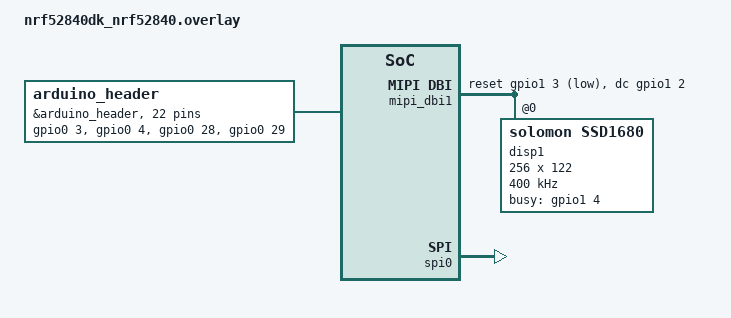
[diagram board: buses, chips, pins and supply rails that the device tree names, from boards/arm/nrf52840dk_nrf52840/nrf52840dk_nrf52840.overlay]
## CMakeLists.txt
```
cmake_minimum_required(VERSION 3.20.0)
find_package(Zephyr REQUIRED HINTS $ENV{ZEPHYR_BASE})

project(LVGL_Button_Counter)

target_sources(app PRIVATE src/main.c)
```

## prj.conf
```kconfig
CONFIG_LV_Z_SHELL=y
CONFIG_MAIN_STACK_SIZE=16384
CONFIG_DISPLAY=y
CONFIG_DISPLAY_LOG_LEVEL_ERR=y
CONFIG_DISPLAY_INIT_PRIORITY=80
CONFIG_LOG=y
CONFIG_SHELL=y
CONFIG_LVGL=y
CONFIG_LV_USE_LOG=y
CONFIG_LV_USE_LABEL=y
CONFIG_LV_COLOR_DEPTH_1=y
CONFIG_LV_DRAW_BUF_STRIDE_ALIGN=8
CONFIG_LV_Z_MEM_POOL_SIZE=65536
CONFIG_GPIO=y

CONFIG_LV_Z_VDB_SIZE=100

CONFIG_DISPLAY_LOG_LEVEL_DBG=y
CONFIG_LV_USE_QRCODE=y
CONFIG_LV_USE_CANVAS=y

CONFIG_DEBUG=y
CONFIG_PRINTK=y
CONFIG_THREAD_NAME=y
CONFIG_LOG=y
CONFIG_DEBUG_INFO=y
CONFIG_ASSERT=y

CONFIG_LV_FONT_DEJAVU_16_PERSIAN_HEBREW=y
CONFIG_LV_FONT_MONTSERRAT_8=y
CONFIG_LV_FONT_MONTSERRAT_10=y
CONFIG_LV_FONT_MONTSERRAT_12=y
CONFIG_LV_FONT_MONTSERRAT_14=y
CONFIG_LV_FONT_MONTSERRAT_16=y
CONFIG_LV_FONT_MONTSERRAT_18=y
CONFIG_LV_FONT_MONTSERRAT_20=y
CONFIG_LV_FONT_MONTSERRAT_22=y
CONFIG_LV_FONT_MONTSERRAT_24=y
CONFIG_LV_FONT_MONTSERRAT_26=y
CONFIG_LV_FONT_MONTSERRAT_28=y
CONFIG_LV_FONT_MONTSERRAT_30=y
CONFIG_LV_FONT_MONTSERRAT_32=y
CONFIG_LV_FONT_MONTSERRAT_34=y
CONFIG_LV_FONT_MONTSERRAT_36=y
CONFIG_LV_FONT_MONTSERRAT_38=y
CONFIG_LV_FONT_MONTSERRAT_40=y
CONFIG_LV_FONT_MONTSERRAT_42=y
CONFIG_LV_FONT_MONTSERRAT_44=y
CONFIG_LV_FONT_MONTSERRAT_46=y
CONFIG_LV_FONT_MONTSERRAT_48=y
```

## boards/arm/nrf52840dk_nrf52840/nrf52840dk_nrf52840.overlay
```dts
/{
    chosen {
        zephyr,display = &disp1;
    };

    mipi_dbi1 {
        compatible = "zephyr,mipi-dbi-spi";
        dc-gpios = <&gpio1 2 GPIO_ACTIVE_HIGH>;
        reset-gpios = <&gpio1 3 GPIO_ACTIVE_LOW>;
        spi-dev = <&spi0>;
        write-only;
        #address-cells = <1>;
        #size-cells = <0>;
        status = "okay";

        disp1: ssd1680@0 {
            compatible = "solomon,ssd1680";
            reg = <0>;
            busy-gpios = <&gpio1 4 (GPIO_PULL_DOWN | GPIO_ACTIVE_HIGH)>;
            width = <256>;
            height = <122>;
            rotation = <0>;
            mipi-max-frequency = <400000>;   
            
            // full {};
            partial {};

            status = "okay";
        };
    };
};


&spi0 {
    status = "okay";
    cs-gpios = <&gpio1 1 GPIO_ACTIVE_LOW>;
};

&gpio1 {
    status = "okay";
};

&arduino_i2c {
    status = "disabled";
};

&arduino_header {
    gpio-map = <0 0 &gpio0 3 0>,
               <1 0 &gpio0 4 0>,
               <2 0 &gpio0 28 0>,
               <3 0 &gpio0 29 0>,
               <4 0 &gpio0 30 0>,
               <5 0 &gpio0 31 0>,
               <6 0 &gpio1 1 0>,
               <7 0 &gpio1 2 0>,
               <8 0 &gpio1 3 0>,
               <9 0 &gpio1 4 0>,
               <10 0 &gpio1 5 0>,
               <11 0 &gpio1 6 0>,
               <12 0 &gpio1 7 0>,
               <13 0 &gpio1 8 0>,
               <14 0 &gpio1 10 0>,
               <15 0 &gpio1 11 0>,
               <16 0 &gpio1 12 0>,
               <17 0 &gpio1 13 0>,
               <18 0 &gpio1 14 0>,
               <19 0 &gpio1 15 0>,
               <20 0 &gpio0 26 0>,
               <21 0 &gpio0 27 0>;
};
```

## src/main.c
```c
#include <zephyr/device.h>
#include <zephyr/devicetree.h>
#include <zephyr/drivers/display.h>
#include <lvgl.h>
#include <zephyr/kernel.h>
#include <string.h>
#include <zephyr/drivers/gpio.h>
#include <zephyr/sys/printk.h>

#define LOG_LEVEL CONFIG_LOG_DEFAULT_LEVEL
#include <zephyr/logging/log.h>
LOG_MODULE_REGISTER(app);

#define SW0_NODE DT_ALIAS(sw0)
#define SW1_NODE DT_ALIAS(sw1)
#define SW2_NODE DT_ALIAS(sw2)
#define SW3_NODE DT_ALIAS(sw3)
static const struct gpio_dt_spec button1 = GPIO_DT_SPEC_GET(SW0_NODE, gpios);
static const struct gpio_dt_spec button2 = GPIO_DT_SPEC_GET(SW1_NODE, gpios);
static const struct gpio_dt_spec button3 = GPIO_DT_SPEC_GET(SW2_NODE, gpios);
static const struct gpio_dt_spec button4 = GPIO_DT_SPEC_GET(SW3_NODE, gpios);

static volatile bool button_0_pressed_flag = false;
static volatile bool button_1_pressed_flag = false;
static volatile bool button_2_pressed_flag = false;
static volatile bool button_3_pressed_flag = false;

static struct gpio_callback button_cb_data_0;
static struct gpio_callback button_cb_data_1;
static struct gpio_callback button_cb_data_2;
static struct gpio_callback button_cb_data_3;

static uint32_t count = 0;

#define INC_VAL_1 1
#define INC_VAL_2 10
#define INC_VAL_3 100
#define INC_VAL_4 1000

void button_0_pressed()
{
	button_0_pressed_flag = true;
}

void button_1_pressed()
{
	button_1_pressed_flag = true;
}

void button_2_pressed()
{
	button_2_pressed_flag = true;
}

void button_3_pressed()
{
	button_3_pressed_flag = true;
}

int main(void)
{

	int ret0;
    int ret1;
    int ret2;
    int ret3;

	if (!device_is_ready(button1.port) || !device_is_ready(button2.port) ||
        !device_is_ready(button3.port) || !device_is_ready(button4.port)) {
		LOG_ERR("Button not ready");
		return -1;
	}

	/* Configure button as input with interrupt */
    ret0 = gpio_pin_configure_dt(&button1, GPIO_INPUT | GPIO_PULL_UP);
    ret1 = gpio_pin_configure_dt(&button2, GPIO_INPUT | GPIO_PULL_UP);
    ret2 = gpio_pin_configure_dt(&button3, GPIO_INPUT | GPIO_PULL_UP);
    ret3 = gpio_pin_configure_dt(&button4, GPIO_INPUT | GPIO_PULL_UP);
    if (ret0 < 0 || ret1 < 0 || ret2 < 0 || ret3 < 0) {
        LOG_ERR("Failed to configure button pins");
        return -1;
    }

    ret0 = gpio_pin_interrupt_configure_dt(&button1, GPIO_INT_EDGE_TO_ACTIVE);
    ret1 = gpio_pin_interrupt_configure_dt(&button2, GPIO_INT_EDGE_TO_ACTIVE);
    ret2 = gpio_pin_interrupt_configure_dt(&button3, GPIO_INT_EDGE_TO_ACTIVE);
    ret3 = gpio_pin_interrupt_configure_dt(&button4, GPIO_INT_EDGE_TO_ACTIVE);
    if (ret0 < 0 || ret1 < 0 || ret2 < 0 || ret3 < 0) {
        LOG_ERR("Failed to configure button interrupts");
        return -1;
    }

	gpio_init_callback(&button_cb_data_0, button_0_pressed, BIT(button1.pin));
    gpio_add_callback(button1.port, &button_cb_data_0);

	gpio_init_callback(&button_cb_data_1, button_1_pressed, BIT(button2.pin));
    gpio_add_callback(button2.port, &button_cb_data_1);

	gpio_init_callback(&button_cb_data_2, button_2_pressed, BIT(button3.pin));
    gpio_add_callback(button3.port, &button_cb_data_2);

	gpio_init_callback(&button_cb_data_3, button_3_pressed, BIT(button4.pin));
    gpio_add_callback(button4.port, &button_cb_data_3);

	LOG_INF("Buttons initialized");

    const struct device *display_dev;

    display_dev = DEVICE_DT_GET(DT_CHOSEN(zephyr_display));
    if (!device_is_ready(display_dev)) {
        LOG_ERR("Display device not ready");
        return 0;
    }

    lv_init();

    lv_obj_t *count_label;

    /* Make background white */
    lv_obj_clean(lv_scr_act());
    lv_obj_set_style_bg_color(lv_scr_act(), lv_color_white(), LV_PART_MAIN);
    lv_obj_set_style_bg_opa(lv_scr_act(), LV_OPA_COVER, 0);

    count_label = lv_label_create(lv_scr_act());
    lv_obj_set_style_bg_color(count_label, lv_color_white(), LV_PART_MAIN);
    lv_obj_set_style_bg_opa(count_label, LV_OPA_TRANSP, LV_PART_MAIN);  // Opaque background
    lv_obj_set_width(count_label, 100);   // ensure label box doesn't resize
    lv_obj_set_height(count_label, 50);  // ensure label box doesn't resize
    lv_label_set_long_mode(count_label, LV_LABEL_LONG_CLIP);
    lv_obj_set_style_text_color(count_label, lv_color_black(), LV_PART_MAIN);
    lv_obj_set_style_text_font(count_label, &lv_font_montserrat_48, 0);
    lv_obj_set_style_text_align(count_label, LV_TEXT_ALIGN_CENTER, LV_PART_MAIN);
    lv_label_set_text(count_label, "0");
    lv_obj_align(count_label, LV_ALIGN_CENTER, 0, 0);

    /* Turn on the display */
    lv_timer_handler();
    display_blanking_off(display_dev);

    while (1) {

        // Check if any button is pressed
        if (button_0_pressed_flag || button_1_pressed_flag || button_2_pressed_flag || button_3_pressed_flag) {

            if (button_0_pressed_flag) count += INC_VAL_1;
            if (button_1_pressed_flag) count += INC_VAL_2;
            if (button_2_pressed_flag) count += INC_VAL_3;
            if (button_3_pressed_flag) count += INC_VAL_4;

            if (count > 9999) count = 0;

            button_0_pressed_flag = false;
            button_1_pressed_flag = false;
            button_2_pressed_flag = false;
            button_3_pressed_flag = false;

			LOG_INF("Button pressed, count: %u", count);

            static char buf[32];
            static char prev_buf[32];
            snprintf(buf, sizeof(buf), "%u", count);

            // Pass 1: Erase the previous text
            if (strlen(prev_buf) > 0) {
                lv_label_set_text(count_label, prev_buf);
                lv_obj_set_style_text_color(count_label, lv_color_white(), LV_PART_MAIN);
                lv_obj_invalidate(count_label);
                lv_refr_now(NULL);
            }

            // Pass 2: Update the label with the actual value
            lv_label_set_text(count_label, buf);
            lv_obj_set_style_text_color(count_label, lv_color_black(), LV_PART_MAIN);
            lv_obj_invalidate(count_label);
            lv_refr_now(NULL);

            strcpy(prev_buf, buf);  // Store the current value for the next iteration
		}
		
		k_sleep(K_MSEC(10));
    }
}
```
